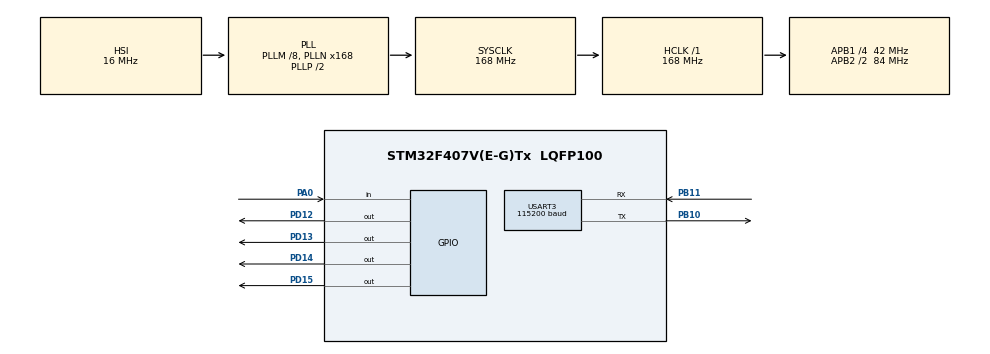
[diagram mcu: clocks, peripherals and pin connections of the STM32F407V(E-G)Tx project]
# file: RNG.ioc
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Mcu.Family=STM32F4
Mcu.Name=STM32F407V(E-G)Tx
Mcu.Package=LQFP100
NVIC.HASH_RNG_IRQn=true\:0\:0\:false\:false\:true\:true\:true
NVIC.PriorityGroup=NVIC_PRIORITYGROUP_4
PA0-WKUP.Signal=GPIO_Input
PA13.Mode=Serial_Wire
PA13.Signal=SYS_JTMS-SWDIO
PA14.Mode=Serial_Wire
PA14.Signal=SYS_JTCK-SWCLK
PB10.Mode=Asynchronous
PB10.Signal=USART3_TX
PB11.Mode=Asynchronous
PB11.Signal=USART3_RX
PD12.Signal=GPIO_Output
PD13.Signal=GPIO_Output
PD14.Signal=GPIO_Output
PD15.Signal=GPIO_Output
PH0-OSC_IN.Mode=HSE-External-Oscillator
PH0-OSC_IN.Signal=RCC_OSC_IN
PH1-OSC_OUT.Mode=HSE-External-Oscillator
PH1-OSC_OUT.Signal=RCC_OSC_OUT
ProjectManager.HeapSize=0x200
ProjectManager.StackSize=0x400
ProjectManager.TargetToolchain=MDK-ARM V5.27
RCC.48MHZClocksFreq_Value=42000000
RCC.AHBFreq_Value=168000000
RCC.APB1CLKDivider=RCC_HCLK_DIV4
RCC.APB1Freq_Value=42000000
RCC.APB1TimFreq_Value=84000000
RCC.APB2CLKDivider=RCC_HCLK_DIV2
RCC.APB2Freq_Value=84000000
RCC.APB2TimFreq_Value=168000000
RCC.CortexFreq_Value=168000000
RCC.HCLKFreq_Value=168000000
RCC.HSE_VALUE=25000000
RCC.HSI_VALUE=16000000
RCC.LSE_VALUE=32768
RCC.PLLM=8
RCC.PLLN=168
RCC.PLLQ=8
RCC.SYSCLKFreq_VALUE=168000000
RCC.SYSCLKSource=RCC_SYSCLKSOURCE_PLLCLK
RCC.VCOOutputFreq_Value=336000000
USART3.BaudRate=115200
USART3.VirtualMode=VM_ASYNC
VP_RNG_VS_RNG.Mode=RNG_Activate
board=custom

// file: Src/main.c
/* USER CODE BEGIN Header */
/**
  ******************************************************************************
  * @file           : main.c
  * @brief          : Main program body
  ******************************************************************************
  * @attention
  *
  * <h2><center>&copy; Copyright (c) 2020 STMicroelectronics.
  * All rights reserved.</center></h2>
  *
  * This software component is licensed by ST under BSD 3-Clause license,
  * the "License"; You may not use this file except in compliance with the
  * License. You may obtain a copy of the License at:
  *                        opensource.org/licenses/BSD-3-Clause
  *
  ******************************************************************************
  */
/* USER CODE END Header */

#include "main.h"

/* USER CODE BEGIN PD */
uint32_t MyRandomNumber[7];
uint32_t sendValue[7];
uint8_t flagRNG = 0;

uint8_t Rx_data[10];
uint8_t Tx_data[50];
/* USER CODE END PD */

RNG_HandleTypeDef hrng;

UART_HandleTypeDef huart3;

void SystemClock_Config(void);
static void MX_GPIO_Init(void);
static void MX_RNG_Init(void);
static void MX_USART3_UART_Init(void);

/* USER CODE BEGIN 0 */
void HAL_RNG_ReadyDataCallback(RNG_HandleTypeDef *hrng, uint32_t random32bit)
{
  /* Prevent unused argument(s) compilation warning */
  UNUSED(hrng);
  UNUSED(random32bit);
  /* NOTE : This function should not be modified. When the callback is needed,
            function HAL_RNG_ReadyDataCallback must be implemented in the user file.
   */
	flagRNG = 1;
}

/* USER CODE END 0 */

int main(void)
{

  /* MCU Configuration--------------------------------------------------------*/

  /* Reset of all peripherals, Initializes the Flash interface and the Systick. */
  HAL_Init();

  /* Configure the system clock */
  SystemClock_Config();

  /* Initialize all configured peripherals */
  MX_GPIO_Init();
  MX_RNG_Init();
  MX_USART3_UART_Init();
  /* USER CODE BEGIN 2 */
	HAL_RNG_GenerateRandomNumber_IT(&hrng);
  /* USER CODE END 2 */

  /* Infinite loop */
  /* USER CODE BEGIN WHILE */
  while (1)
  {
		if(flagRNG)
		{
			flagRNG = 1;
			for(int i=0;i<=6;i++)
				{
					MyRandomNumber[i] = HAL_RNG_ReadLastRandomNumber(&hrng);
					MyRandomNumber[i] = MyRandomNumber[i]%100;
					HAL_RNG_GenerateRandomNumber_IT(&hrng);
				}
		}

		/*
			MyRandomNumber[0] => AC - Current  - For Efficiency
		  MyRandomNumber[1] => AC - Voltage  - For Efficiency
		  MyRandomNumber[2] => DC - Current  - For Efficiency
		  MyRandomNumber[3] => DC - Voltage  - For Efficiency
		  MyRandomNumber[4] => NTC					 - For Efficiency

		  MyRandomNumber[5] => DC - Current  - For Electric Load
		  MyRandomNumber[6] => DC - Voltage  - For Electric Load

		*/

		HAL_UART_Transmit(&huart3,Tx_data,sprintf(Tx_data,"%d\n",100),1);
		HAL_Delay(1);

		for(int a=0;a<=6;a++)
			{
				if(a == 0)
					{
						MyRandomNumber[a] = MyRandomNumber[a] % 10;
		        HAL_UART_Transmit(&huart3,Tx_data,sprintf(Tx_data,"%d\n",MyRandomNumber[a]),1);
					  HAL_Delay(1);
					}
				else if(a == 1)
					{
						MyRandomNumber[a] = MyRandomNumber[a] % 50;
						HAL_UART_Transmit(&huart3,Tx_data,sprintf(Tx_data,"%d\n",MyRandomNumber[a]),1);
						HAL_Delay(1);
					}
				else if(a == 2)
					{
						MyRandomNumber[a] = MyRandomNumber[a] % 10;
						HAL_UART_Transmit(&huart3,Tx_data,sprintf(Tx_data,"%d\n",MyRandomNumber[a]),1);
						HAL_Delay(1);
					}
				else if(a == 3)
					{
						MyRandomNumber[a] = MyRandomNumber[a] % 50;
						HAL_UART_Transmit(&huart3,Tx_data,sprintf(Tx_data,"%d\n",MyRandomNumber[a]),1);
						HAL_Delay(1);
					}
				else if(a == 4)
					{
						MyRandomNumber[a] = MyRandomNumber[a] % 50;
						HAL_UART_Transmit(&huart3,Tx_data,sprintf(Tx_data,"%d\n",MyRandomNumber[a]),1);
						HAL_Delay(1);
					}
				else if(a == 5)
					{
						MyRandomNumber[a] = MyRandomNumber[a] % 10;
						HAL_UART_Transmit(&huart3,Tx_data,sprintf(Tx_data,"%d\n",MyRandomNumber[a]),1);
						HAL_Delay(1);
					}
				else
					{
						MyRandomNumber[a] = MyRandomNumber[a] % 50;
						HAL_UART_Transmit(&huart3,Tx_data,sprintf(Tx_data,"%d\n",MyRandomNumber[a]),1);
						HAL_Delay(1);
					}
			}

//		// AC-C
//		HAL_UART_Transmit(&huart3,Tx_data,sprintf(Tx_data,"a\n"),1);
//		HAL_Delay(10);
//		MyRandomNumber[0] = MyRandomNumber[0] % 10;
//		HAL_UART_Transmit(&huart3,Tx_data,sprintf(Tx_data,"%d\n",MyRandomNumber[0]),1);
//		HAL_Delay(10);
//
//		// AC-V
//		HAL_UART_Transmit(&huart3,Tx_data,sprintf(Tx_data,"b\n"),1);
//		HAL_Delay(10);
//		MyRandomNumber[1] = MyRandomNumber[1] % 50;
//		HAL_UART_Transmit(&huart3,Tx_data,sprintf(Tx_data,"%d\n",MyRandomNumber[1]),1);
//		HAL_Delay(10);
//
//		// DC-C1
//		HAL_UART_Transmit(&huart3,Tx_data,sprintf(Tx_data,"c\n"),1);
//		HAL_Delay(10);
//		MyRandomNumber[2] = MyRandomNumber[2] % 10;
//		HAL_UART_Transmit(&huart3,Tx_data,sprintf(Tx_data,"%d\n",MyRandomNumber[2]),1);
//		HAL_Delay(10);
//
//		// DC-V1
//		HAL_UART_Transmit(&huart3,Tx_data,sprintf(Tx_data,"d\n"),1);
//		HAL_Delay(10);
//		MyRandomNumber[3] = MyRandomNumber[3] % 50;
//		HAL_UART_Transmit(&huart3,Tx_data,sprintf(Tx_data,"%d\n",MyRandomNumber[3]),1);
//		HAL_Delay(10);
//
//		// NTC
//		HAL_UART_Transmit(&huart3,Tx_data,sprintf(Tx_data,"e\n"),1);
//		HAL_Delay(10);
//		MyRandomNumber[4] = MyRandomNumber[4] % 50;
//		HAL_UART_Transmit(&huart3,Tx_data,sprintf(Tx_data,"%d\n",MyRandomNumber[4]),1);
//		HAL_Delay(10);
//
//		// DC-C2
//		HAL_UART_Transmit(&huart3,Tx_data,sprintf(Tx_data,"f\n"),1);
//		HAL_Delay(10);
//		MyRandomNumber[5] = MyRandomNumber[5] % 10;
//		HAL_UART_Transmit(&huart3,Tx_data,sprintf(Tx_data,"%d\n",MyRandomNumber[5]),1);
//		HAL_Delay(10);
//
//		// DC-V2
//		HAL_UART_Transmit(&huart3,Tx_data,sprintf(Tx_data,"a\n"),1);
//		HAL_Delay(10);
//		MyRandomNumber[6] = MyRandomNumber[6] % 50;
//		HAL_UART_Transmit(&huart3,Tx_data,sprintf(Tx_data,"%d\n",MyRandomNumber[6]),1);
//		HAL_Delay(10);

		HAL_UART_Receive(&huart3,Rx_data,10,1);

	  if(Rx_data[0] == '1')
		HAL_GPIO_WritePin(GPIOD, GPIO_PIN_12|GPIO_PIN_13|GPIO_PIN_14|GPIO_PIN_15, GPIO_PIN_SET);
		if(Rx_data[0] == '0')
		HAL_GPIO_WritePin(GPIOD, GPIO_PIN_12|GPIO_PIN_13|GPIO_PIN_14|GPIO_PIN_15, GPIO_PIN_RESET);
    /* USER CODE END WHILE */

    /* USER CODE END WHILE */

  }
}

void SystemClock_Config(void)
{
  RCC_OscInitTypeDef RCC_OscInitStruct = {0};
  RCC_ClkInitTypeDef RCC_ClkInitStruct = {0};

  /** Configure the main internal regulator output voltage
  */
  __HAL_RCC_PWR_CLK_ENABLE();
  __HAL_PWR_VOLTAGESCALING_CONFIG(PWR_REGULATOR_VOLTAGE_SCALE1);
  /** Initializes the CPU, AHB and APB busses clocks
  */
  RCC_OscInitStruct.OscillatorType = RCC_OSCILLATORTYPE_HSI;
  RCC_OscInitStruct.HSIState = RCC_HSI_ON;
  RCC_OscInitStruct.HSICalibrationValue = RCC_HSICALIBRATION_DEFAULT;
  RCC_OscInitStruct.PLL.PLLState = RCC_PLL_ON;
  RCC_OscInitStruct.PLL.PLLSource = RCC_PLLSOURCE_HSI;
  RCC_OscInitStruct.PLL.PLLM = 8;
  RCC_OscInitStruct.PLL.PLLN = 168;
  RCC_OscInitStruct.PLL.PLLP = RCC_PLLP_DIV2;
  RCC_OscInitStruct.PLL.PLLQ = 8;
  if (HAL_RCC_OscConfig(&RCC_OscInitStruct) != HAL_OK)
  {
    Error_Handler();
  }
  /** Initializes the CPU, AHB and APB busses clocks
  */
  RCC_ClkInitStruct.ClockType = RCC_CLOCKTYPE_HCLK|RCC_CLOCKTYPE_SYSCLK
                              |RCC_CLOCKTYPE_PCLK1|RCC_CLOCKTYPE_PCLK2;
  RCC_ClkInitStruct.SYSCLKSource = RCC_SYSCLKSOURCE_PLLCLK;
  RCC_ClkInitStruct.AHBCLKDivider = RCC_SYSCLK_DIV1;
  RCC_ClkInitStruct.APB1CLKDivider = RCC_HCLK_DIV4;
  RCC_ClkInitStruct.APB2CLKDivider = RCC_HCLK_DIV2;

  if (HAL_RCC_ClockConfig(&RCC_ClkInitStruct, FLASH_LATENCY_5) != HAL_OK)
  {
    Error_Handler();
  }
}

static void MX_RNG_Init(void)
{

  hrng.Instance = RNG;
  if (HAL_RNG_Init(&hrng) != HAL_OK)
  {
    Error_Handler();
  }

}

static void MX_USART3_UART_Init(void)
{

  huart3.Instance = USART3;
  huart3.Init.BaudRate = 115200;
  huart3.Init.WordLength = UART_WORDLENGTH_8B;
  huart3.Init.StopBits = UART_STOPBITS_1;
  huart3.Init.Parity = UART_PARITY_NONE;
  huart3.Init.Mode = UART_MODE_TX_RX;
  huart3.Init.HwFlowCtl = UART_HWCONTROL_NONE;
  huart3.Init.OverSampling = UART_OVERSAMPLING_16;
  if (HAL_UART_Init(&huart3) != HAL_OK)
  {
    Error_Handler();
  }

}

static void MX_GPIO_Init(void)
{
  GPIO_InitTypeDef GPIO_InitStruct = {0};

  /* GPIO Ports Clock Enable */
  __HAL_RCC_GPIOH_CLK_ENABLE();
  __HAL_RCC_GPIOA_CLK_ENABLE();
  __HAL_RCC_GPIOB_CLK_ENABLE();
  __HAL_RCC_GPIOD_CLK_ENABLE();

  /*Configure GPIO pin Output Level */
  HAL_GPIO_WritePin(GPIOD, GPIO_PIN_12|GPIO_PIN_13|GPIO_PIN_14|GPIO_PIN_15, GPIO_PIN_RESET);

  /*Configure GPIO pin : PA0 */
  GPIO_InitStruct.Pin = GPIO_PIN_0;
  GPIO_InitStruct.Mode = GPIO_MODE_INPUT;
  GPIO_InitStruct.Pull = GPIO_NOPULL;
  HAL_GPIO_Init(GPIOA, &GPIO_InitStruct);

  /*Configure GPIO pins : PD12 PD13 PD14 PD15 */
  GPIO_InitStruct.Pin = GPIO_PIN_12|GPIO_PIN_13|GPIO_PIN_14|GPIO_PIN_15;
  GPIO_InitStruct.Mode = GPIO_MODE_OUTPUT_PP;
  GPIO_InitStruct.Pull = GPIO_NOPULL;
  GPIO_InitStruct.Speed = GPIO_SPEED_FREQ_LOW;
  HAL_GPIO_Init(GPIOD, &GPIO_InitStruct);

}

void Error_Handler(void)
{
}

/************************ (C) COPYRIGHT STMicroelectronics *****END OF FILE****/
